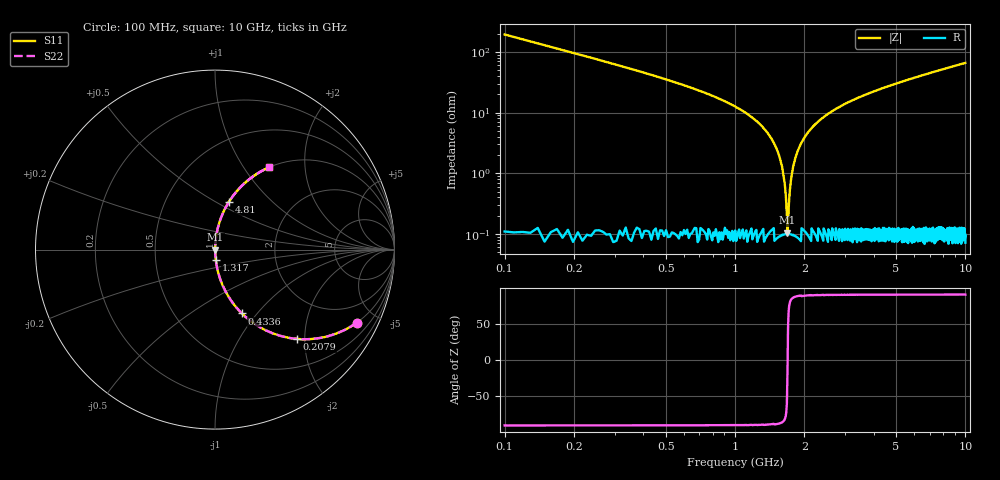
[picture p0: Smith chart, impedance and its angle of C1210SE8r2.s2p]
! AVX Thin Film Operation		Date: April 2012
! Description: Accu-P® Series, Thin Film, SMD, RF Capacitor
! Part Number: 12101J8R2BBTTR
!	100	MHz	-	10.05	GHz
!	Serial	Measurements
#	MHZ	S	MA	R	50
!	S11	S21	S12	S22
!	dB	Phase	dB	Phase	dB	Phase	dB	Phase
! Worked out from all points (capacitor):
!   1010 points, 100 MHz to 10 GHz, reference 50 ohm
!   read as one part in series: C = 8.2 pF near 149.1 MHz
!   lowest |Z| = 105 mohm at 1.689 GHz (marker M1)
!   series resonance near 1.692 GHz, so ESL is about 1.1 nH
!   S11 on the Smith chart (normalised r, x): 100 MHz: 1.00, -3.87; 207.9 MHz: 1.00, -1.84; 433.6 MHz: 1.00, -0.84; 1.317 GHz: 1.00, -0.12; 4.81 GHz: 1.00, +0.57; 10 GHz: 1.00, +1.32
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100  0.888 -27.3  0.459 62.6  0.459 62.6  0.888 -27.3
207.929  0.676 -47.4  0.736 42.6  0.736 42.6  0.676 -47.4
433.598  0.386 -67.2  0.922 22.7  0.922 22.7  0.386 -67.2
737.76  0.208 -77.7  0.977 12.0  0.977 12.0  0.208 -77.7
1316.65  0.058 -85.7  0.997 3.3  0.997 3.3  0.058 -85.7
1463.826  0.033 -86.4  0.998 1.9  0.998 1.9  0.033 -86.4
1552.131  0.02 -86.0  0.999 1.1  0.999 1.1  0.02 -86.0
1611.001  0.011 -84.3  0.999 0.6  0.999 0.6  0.011 -84.3
1660.059  0.00446 -76.8  0.999 0.2  0.999 0.2  0.00446 -76.8
1689.495  0.00105 -17.5  0.999 0.0  0.999 0.0  0.00105 -17.5
1728.741  0.00505 78.3  0.999 -0.3  0.999 -0.3  0.00505 78.3
1758.176  0.00888 83.0  0.999 -0.5  0.999 -0.5  0.00888 83.0
1817.047  0.016 85.6  0.999 -0.9  0.999 -0.9  0.016 85.6
1895.54  0.026 86.3  0.999 -1.5  0.999 -1.5  0.026 86.3
2189.891  0.06 85.6  0.997 -3.4  0.997 -3.4  0.06 85.6
2670.664  0.108 83.3  0.993 -6.2  0.993 -6.2  0.108 83.3
3406.541  0.171 79.8  0.984 -9.9  0.984 -9.9  0.171 79.8
4809.613  0.275 73.9  0.961 -15.9  0.961 -15.9  0.275 73.9
5054.906  0.291 72.9  0.956 -16.9  0.956 -16.9  0.291 72.9
6703.271  0.391 66.8  0.919 -23.0  0.919 -23.0  0.391 66.8
8351.635  0.477 61.4  0.878 -28.5  0.878 -28.5  0.477 61.4
10000  0.55 56.6  0.835 -33.3  0.835 -33.3  0.55 56.6
